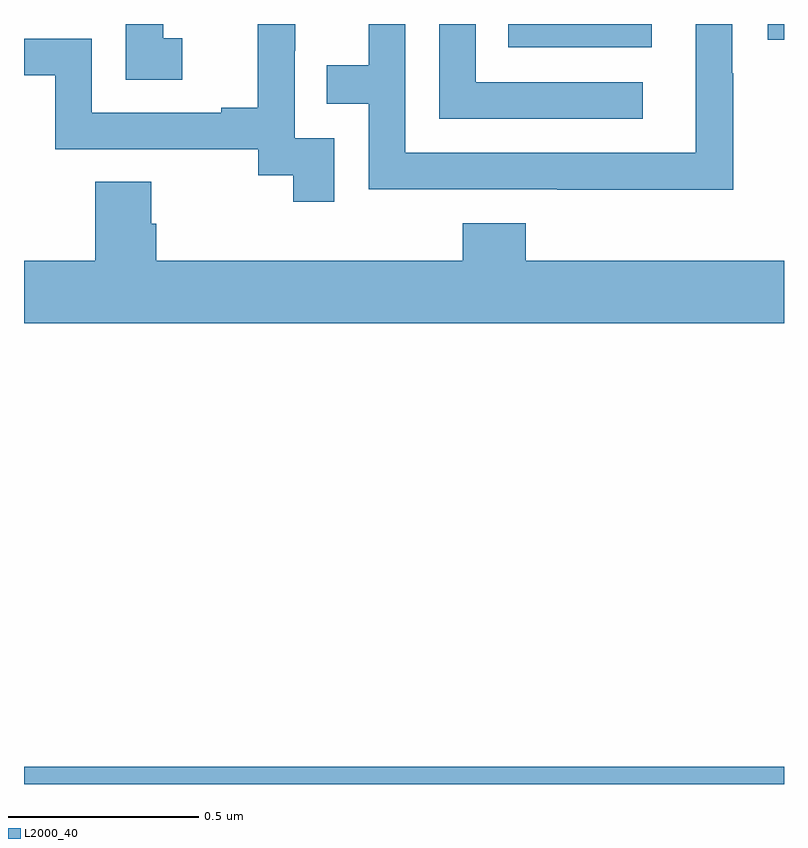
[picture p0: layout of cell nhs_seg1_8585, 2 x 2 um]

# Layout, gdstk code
import gdstk
lib = gdstk.Library(unit=1e-6, precision=1e-09)
def R(c, l, rs):  # rectangles x0, y0, x1, y1
    for r in rs: c.add(gdstk.rectangle(r[:2], r[2:], *l))
def P(c, l, *ps):  # polygons
    for p in ps: c.add(gdstk.Polygon(p, *l))
L2000_40 = (2000, 40)

nhs_seg1_8585 = lib.new_cell('nhs_seg1_8585')
R(nhs_seg1_8585, L2000_40, [(218,537.199,220,537.244), (219.274,539.138,219.652,539.199), (219.957,539.157,220,539.199)])
P(nhs_seg1_8585, L2000_40, [(219.628,539.046),(219.189,539.046),(219.189,539.199),(219.093,539.199),(219.093,538.95),(219.628,538.95)],
  [(218.416,539.161),(218.367,539.161),(218.367,539.199),(218.268,539.199),(218.268,539.052),(218.416,539.052)],
  [(219.867,539.069),(219.864,539.069),(219.864,539.199),(219.768,539.199),(219.768,538.86),(219.003,538.86),(219.003,539.199),(218.907,539.199),(218.907,539.09),(218.797,539.09),(218.797,538.989),(218.907,538.989),(218.907,538.764),(219.403,538.764),(219.403,538.763),(219.867,538.763)],
  [(218.817,538.899),(218.712,538.899),(218.712,539.129),(218.714,539.129),(218.714,539.199),(218.615,539.199),(218.615,538.978),(218.519,538.978),(218.519,538.965),(218.178,538.965),(218.178,539.16),(218,539.16),(218,539.064),(218.082,539.064),(218.082,538.869),(218.616,538.869),(218.616,538.801),(218.709,538.801),(218.709,538.731),(218.817,538.731)],
  [(220,538.576),(219.32,538.576),(219.32,538.675),(219.155,538.675),(219.155,538.576),(218.348,538.576),(218.348,538.674),(218.335,538.674),(218.335,538.784),(218.188,538.784),(218.188,538.576),(218,538.576),(218,538.412),(220,538.412)])

lib.write_gds('nhs_seg1_8585.gds')
